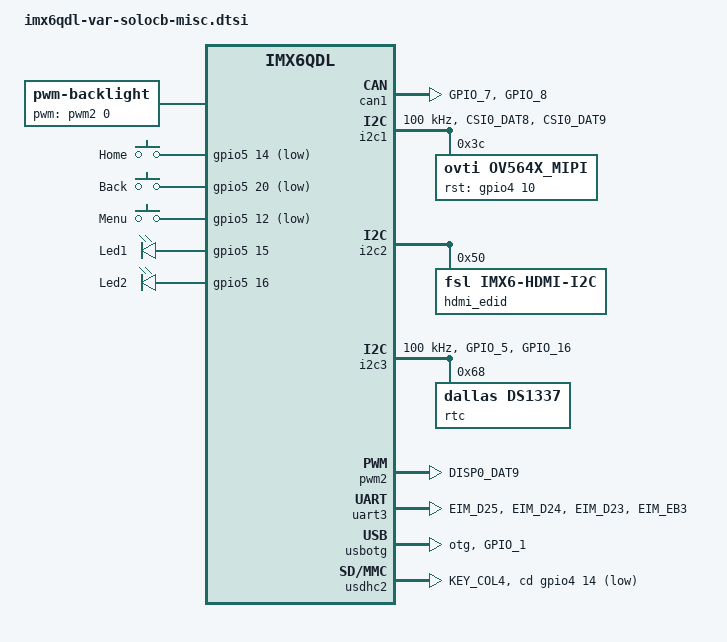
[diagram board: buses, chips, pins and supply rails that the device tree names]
/*
 * Copyright (C) 2015-2017 Variscite Ltd.
 *
 * This program is free software; you can redistribute it and/or modify
 * it under the terms of the GNU General Public License version 2 as
 * published by the Free Software Foundation.
 *
 * Settings for VAR-SoloCustomBoard
 */

/ {
	backlight {
		compatible = "pwm-backlight";
		pwms = <&pwm2 0 50000>;
		brightness-levels = <0 4 8 16 32 64 128 248>;
		default-brightness-level = <7>;
		status = "okay";
	};

	/* Buttons in the motherboard */
	gpio-keys {
		compatible = "gpio-keys";
		pinctrl-names = "default";
		pinctrl-0 = <&pinctrl_gpio_keys>;

		home {
			label = "Home";
			gpios = <&gpio5 14 GPIO_ACTIVE_LOW>;
			linux,code = <KEY_HOMEPAGE>; /* KEY_HOMEPAGE */
			gpio-key,wakeup;
		};

		back {
			label = "Back";
			gpios = <&gpio5 20 GPIO_ACTIVE_LOW>;
			linux,code = <KEY_BACK>; /* KEY_BACK */
			gpio-key,wakeup;
		};

		menu {
			label = "Menu";
			gpios = <&gpio5 12 GPIO_ACTIVE_LOW>;
			linux,code = <KEY_MENU>; /* KEY_MENU */
			gpio-key,wakeup;
		};
	};

	gpio-leds {
		compatible = "gpio-leds";
		pinctrl-names = "default";
		pinctrl-0 = <&pinctrl_gpio_leds>;

		led1 {
			label = "Led1";
			gpios = <&gpio5 15 GPIO_ACTIVE_HIGH>;
			linux,default-trigger = "heartbeat";
		};

		led2 {
			label = "Led2";
			gpios = <&gpio5 16 GPIO_ACTIVE_HIGH>;
			default-state = "off";
		};
	};
};

&can1 {
	pinctrl-names = "default";
	pinctrl-0 = <&pinctrl_flexcan1>;
	status = "okay";
};

&i2c1 {
	clock-frequency = <100000>;
	pinctrl-names = "default";
	pinctrl-0 = <&pinctrl_i2c1>;
	status = "okay";

	ov564x_mipi: ov564x_mipi@3c {
		compatible = "ovti,ov564x_mipi";
		reg = <0x3c>;
		pinctrl-names = "default";
		pinctrl-0 = <&pinctrl_ov564x_mipi>;
		clocks = <&clks IMX6QDL_CLK_CKO2>;
		clock-names = "csi_mclk";
		rst-gpios = <&gpio4 10 GPIO_ACTIVE_HIGH>;
		csi_id = <1>;
		mclk = <24000000>;
		mclk_source = <0>;
	};
};

&i2c2 {
	hdmi_edid: edid@50 {
		compatible = "fsl,imx6-hdmi-i2c";
		reg = <0x50>;
	};
};

&i2c3 {
	clock-frequency = <100000>;
	pinctrl-names = "default";
	pinctrl-0 = <&pinctrl_i2c3>;
	status = "okay";

	/* Touch */
	cap_touch: ft5x06_ts@38 {
		compatible = "edt,edt-ft5x06";
		reg = <0x38>;
		pinctrl-names = "default";
		pinctrl-0 = <&pinctrl_ft5x06>;
		interrupt-parent = <&gpio5>;
		interrupts = <17 0>;
		touchscreen-size-x = <800>;
		touchscreen-size-y = <480>;
		touchscreen-inverted-x;
		touchscreen-inverted-y;
		status = "disabled";
	};

	/* DS1337 RTC module */
	rtc@68 {
		compatible = "dallas,ds1337";
		reg = <0x68>;
	};
};

&iomuxc {
	imx6qdl-var-som-mx6 {
		pinctrl_flexcan1: flexcan1grp {
			fsl,pins = <
				MX6QDL_PAD_GPIO_7__FLEXCAN1_TX		0x80000000
				MX6QDL_PAD_GPIO_8__FLEXCAN1_RX		0x80000000
			>;
		};

		pinctrl_ft5x06: ft5x06grp {
			fsl,pins = <
				MX6QDL_PAD_DISP0_DAT23__GPIO5_IO17	0x80000000
			>;
		};

		pinctrl_gpio_keys: gpiokeysgrp {
			fsl,pins = <
				MX6QDL_PAD_DISP0_DAT18__GPIO5_IO12	0x80000000
				MX6QDL_PAD_DISP0_DAT20__GPIO5_IO14	0x80000000
				MX6QDL_PAD_CSI0_DATA_EN__GPIO5_IO20	0x80000000
			>;
		};

		pinctrl_gpio_leds: gpioledsgrp {
			fsl,pins = <
				MX6QDL_PAD_DISP0_DAT21__GPIO5_IO15	0x80000000
				MX6QDL_PAD_DISP0_DAT22__GPIO5_IO16	0x80000000
			>;
		};

		pinctrl_i2c1: i2c1grp {
			fsl,pins = <
				MX6QDL_PAD_CSI0_DAT8__I2C1_SDA		0x4001b8b1
				MX6QDL_PAD_CSI0_DAT9__I2C1_SCL		0x4001b8b1
			>;
		};

		pinctrl_i2c3: i2c3grp {
			fsl,pins = <
				MX6QDL_PAD_GPIO_5__I2C3_SCL		0x4001b8b1
				MX6QDL_PAD_GPIO_16__I2C3_SDA		0x4001b8b1
			>;
		};

		pinctrl_ov564x_mipi: ov564xmipigrp {
			fsl,pins = <
				/* Camera Clock */
				MX6QDL_PAD_GPIO_3__CCM_CLKO2		0x130b0
				/* Camera enable */
				MX6QDL_PAD_KEY_COL2__GPIO4_IO10		0x80000000
			>;
		};

		pinctrl_pwm2: pwm2grp {
			fsl,pins = <
				MX6QDL_PAD_DISP0_DAT9__PWM2_OUT		0x1b0b1
			>;
		};

		/* Variscite Uart3 support */
		pinctrl_uart3: uart3grp {	/* RX/TX RTS/CTS */
			fsl,pins = <
				MX6QDL_PAD_EIM_D25__UART3_RX_DATA	0x1b0b1
				MX6QDL_PAD_EIM_D24__UART3_TX_DATA	0x1b0b1
				MX6QDL_PAD_EIM_D23__UART3_CTS_B		0x1b0b1
				MX6QDL_PAD_EIM_EB3__UART3_RTS_B		0x1b0b1
			>;
		};

		pinctrl_usbotg_1: usbotggrp-1 {
			fsl,pins = <
				MX6QDL_PAD_GPIO_1__USB_OTG_ID		0x17059
			>;
		};

		pinctrl_usb_h1_vbus: usbh1vbusgrp {
			fsl,pins = <
				MX6QDL_PAD_KEY_ROW4__GPIO4_IO15		0x80000000
			>;
		};

		pinctrl_usb_otg_vbus: usbotgvbusgrp {
			fsl,pins = <
				MX6QDL_PAD_EIM_D22__GPIO3_IO22		0x80000000
			>;
		};

		pinctrl_usdhc2_gpio: usdhc2gpiogrp {
			fsl,pins = <
				/* SDMMC2 CD */
				MX6QDL_PAD_KEY_COL4__GPIO4_IO14		0x80000000
			>;
		};
	};
};

&pwm2 {
	pinctrl-names = "default";
	pinctrl-0 = <&pinctrl_pwm2>;
	status = "okay";
};

&reg_usb_h1_vbus {
	pinctrl-names = "default";
	pinctrl-0 = <&pinctrl_usb_h1_vbus>;
	gpio = <&gpio4 15 0>;
	enable-active-high;
};

&reg_usb_otg_vbus {
	pinctrl-names = "default";
	pinctrl-0 = <&pinctrl_usb_otg_vbus>;
	gpio = <&gpio3 22 0>;
	enable-active-high;
};

/* ttymxc2 UART */
&uart3 {
	pinctrl-names = "default";
	pinctrl-0 = <&pinctrl_uart3>;
	uart-has-rtscts;
	status = "okay";
};

&usbotg {
	pinctrl-names = "default";
	pinctrl-0 = <&pinctrl_usbotg_1>;
	dr_mode = "otg"; /* Use "host" if you would like to use the USB0 type A connector */
};

&usdhc2 {	/* uSDHC2, MMC/SD card */
	pinctrl-names = "default";
	pinctrl-0 = <&pinctrl_usdhc2>, <&pinctrl_usdhc2_gpio>;
	cd-gpios = <&gpio4 14 GPIO_ACTIVE_LOW>;
	no-1-8-v;
	keep-power-in-suspend;
	enable-sdio-wakeup;
	status = "okay";
};
